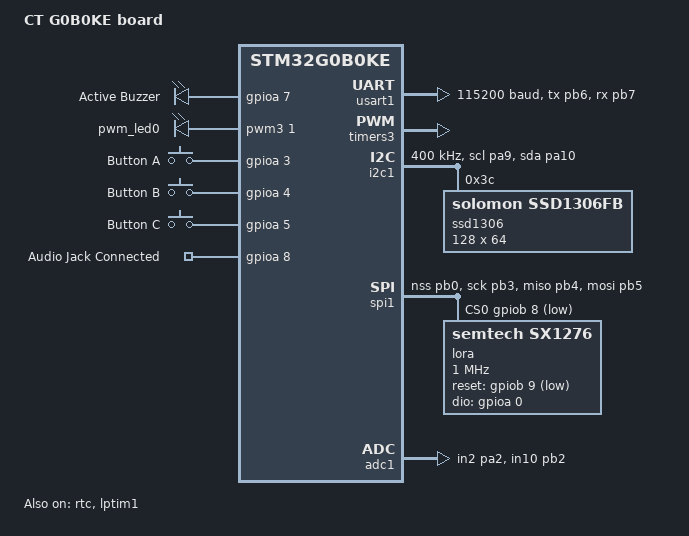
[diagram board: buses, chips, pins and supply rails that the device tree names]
/dts-v1/;
#include <st/g0/stm32g0b0Xe.dtsi>
#include <st/g0/stm32g0b0ketx-pinctrl.dtsi>
#include <zephyr/dt-bindings/input/input-event-codes.h>

/ {
	model = "CT G0B0KE board";
	compatible = "st,stm32g0b0ke-ct";

	chosen {
		zephyr,console = &usart1;
		zephyr,shell-uart = &usart1;
		zephyr,uart-mcumgr = &usart1;
		zephyr,sram = &sram0;
		zephyr,flash = &flash0;
		zephyr,code-partition = &slot0_partition;
		zephyr,display = &ssd1306;
	};

	buzzers: buzzers {
		// We need some kind of compatible. Instead of defining our own, use the gpios-leds.
		compatible = "gpio-leds";
		buzzer_0: buzzer_0 {
			gpios = <&gpioa 7 GPIO_ACTIVE_HIGH>;
			label = "Active Buzzer";
		};
	};

	pwmleds {
		compatible = "pwm-leds";
		pwm_led0: pwm_led_0 {
			pwms = <&pwm3 1 PWM_MSEC(20) PWM_POLARITY_NORMAL>;
		};
	};

	gpio_keys {
		compatible = "gpio-keys";
		user_button_a: button_a {
			label = "Button A";
			gpios = <&gpioa 3 (GPIO_ACTIVE_HIGH | GPIO_PULL_DOWN)>;
			zephyr,code = <INPUT_KEY_A>;
		};
		user_button_b: button_b {
			label = "Button B";
			gpios = <&gpioa 4 (GPIO_ACTIVE_HIGH | GPIO_PULL_DOWN)>;
			zephyr,code = <INPUT_KEY_B>;
		};
		user_button_c: button_c {
			label = "Button C";
			gpios = <&gpioa 5 (GPIO_ACTIVE_HIGH | GPIO_PULL_DOWN)>;
			zephyr,code = <INPUT_KEY_C>;
		};
		jack_conn: jack_conn {
			label = "Audio Jack Connected";
			gpios = <&gpioa 8 (GPIO_ACTIVE_HIGH | GPIO_PULL_UP)>;
		};
	};

	aliases {
		sw0 = &user_button_a;
		swa = &user_button_a;
		swb = &user_button_b;
		swc = &user_button_c;
		jack-connected = &jack_conn;
		uiled = &pwm_led0;
		buzzer = &buzzer_0;
		rtc = &rtc;
		adc1 = &adc1;
		lora0 = &lora;
	};
};

&clk_lsi {
	status = "okay";
};

&clk_hsi {
	status = "okay";
};

&pll {
	div-m = <1>;
	mul-n = <8>;
	div-p = <2>;
	div-q = <2>;
	div-r = <2>;
	clocks = <&clk_hsi>;
	status = "okay";
};

&rcc {
	clocks = <&pll>;
	clock-frequency = <DT_FREQ_M(64)>;
	ahb-prescaler = <1>;
	apb1-prescaler = <1>;
};

&usart1 {
	pinctrl-0 = <&usart1_tx_pb6 &usart1_rx_pb7>;
	pinctrl-names = "default";
	current-speed = <115200>;
	status = "okay";
};

&rtc {
	clocks = <&rcc STM32_CLOCK_BUS_APB1 0x00000400>,
			 <&rcc STM32_SRC_LSI RTC_SEL(2)>;
	status = "okay";
};

&timers3 {
	st,prescaler = <10000>;
	status = "okay";
	pwm3: pwm {
		status = "okay";
		pinctrl-0 = <&tim3_ch1_pa6>;
		pinctrl-names = "default";
	};
};

&i2c1 {
	pinctrl-0 = <&i2c1_scl_pa9 &i2c1_sda_pa10>;
	pinctrl-names = "default";
	status = "okay";
	clock-frequency = <I2C_BITRATE_FAST>;

	ssd1306: ssd1306@3c {
		compatible = "solomon,ssd1306fb";
		reg = <0x3c>;
		width = <128>;
		height = <64>;
		segment-offset = <0>;
		page-offset = <0>;
		display-offset = <0>;
		multiplex-ratio = <63>;
		segment-remap;
		com-invdir;
		prechargep = <0x22>;
	};
};

&spi1 {
	pinctrl-0 = <&spi1_nss_pb0 &spi1_sck_pb3 &spi1_miso_pb4 &spi1_mosi_pb5>;
	pinctrl-names = "default";
	status = "okay";
	cs-gpios = <&gpiob 8 GPIO_ACTIVE_LOW>;

	lora: radio@0 {
		compatible = "semtech,sx1276";
		reg = <0>;
		reset-gpios = <&gpiob 9 GPIO_ACTIVE_LOW>;
		dio-gpios = <&gpioa 0 (GPIO_PULL_DOWN | GPIO_ACTIVE_HIGH)>; /* Used for TX done interrupt */
		spi-max-frequency = <1000000>;
		power-amplifier-output = "pa-boost";
	};
};

&adc1 {
	pinctrl-0 = <&adc1_in2_pa2 &adc1_in10_pb2>;
	pinctrl-names = "default";
	st,adc-clock-source = "SYNC";
	st,adc-prescaler = <4>;
	status = "okay";
};

&flash0 {
	partitions {
		compatible = "fixed-partitions";
		#address-cells = <1>;
		#size-cells = <1>;

		boot_partition: partition@0 {
			label = "mcuboot";
			reg = <0x00000000 DT_SIZE_K(48)>;
			read-only;
		};
		slot0_partition: partition@C000 {
			label = "image-0";
			reg = <0x0000C000 DT_SIZE_K(200)>;
		};
		slot1_partition: partition@3E000 {
			label = "image-1";
			reg = <0x0003E000 DT_SIZE_K(200)>;
		};
		/* final 64KiB reserved for app storage partition */
		storage_partition: partition@70000 {
			label = "storage";
			reg = <0x00070000 DT_SIZE_K(64)>;
		};
	};
};

stm32_lp_tick_source: &lptim1 {
	clocks = <&rcc STM32_CLOCK_BUS_APB1 0x80000000>,
			 <&rcc STM32_SRC_LSI LPTIM1_SEL(1)>;
	status = "okay";
};
